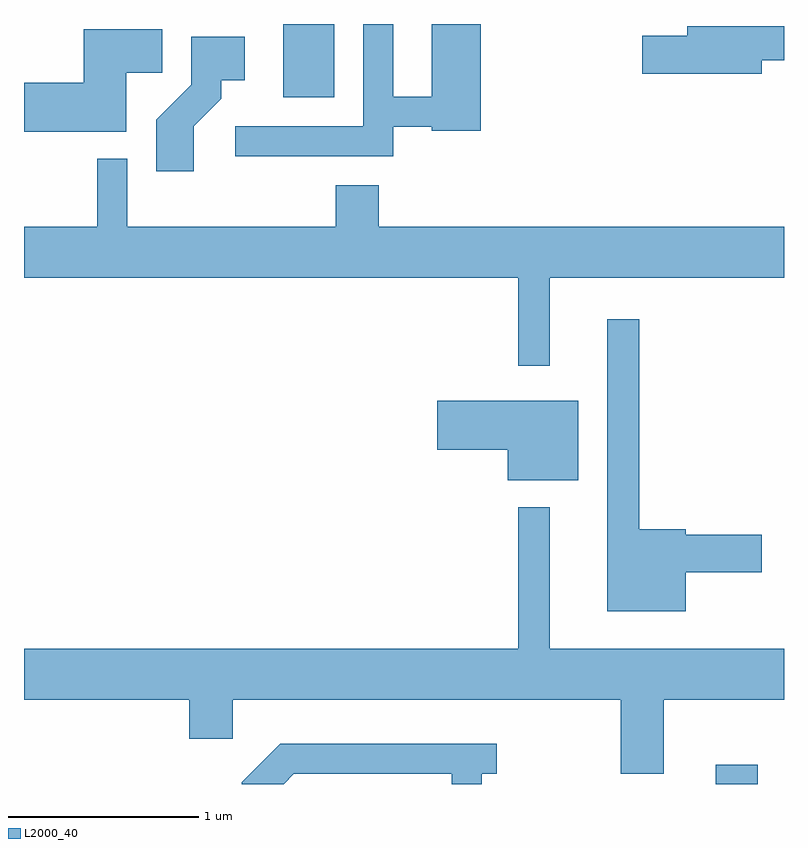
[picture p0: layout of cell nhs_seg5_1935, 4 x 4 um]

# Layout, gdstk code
import gdstk
lib = gdstk.Library(unit=1e-6, precision=1e-09)
def R(c, l, rs):  # rectangles x0, y0, x1, y1
    for r in rs: c.add(gdstk.rectangle(r[:2], r[2:], *l))
def P(c, l, *ps):  # polygons
    for p in ps: c.add(gdstk.Polygon(p, *l))
L2000_40 = (2000, 40)

nhs_seg5_1935 = lib.new_cell('nhs_seg5_1935')
R(nhs_seg5_1935, L2000_40, [(245.251,1514.072,245.474,1514.174), (242.976,1517.686,243.244,1518.072)])
P(nhs_seg5_1935, L2000_40, [(243.554,1517.531),(243.756,1517.531),(243.756,1517.511),(244.014,1517.511),(244.014,1518.072),(243.756,1518.072),(243.756,1517.689),(243.554,1517.689),(243.554,1518.072),(243.396,1518.072),(243.396,1517.534),(242.723,1517.534),(242.723,1517.376),(243.554,1517.376)],
  [(245.494,1517.881),(245.611,1517.881),(245.611,1518.059),(245.101,1518.059),(245.101,1518.009),(244.866,1518.009),(244.866,1517.811),(245.494,1517.811)],
  [(242.149,1517.816),(242.339,1517.816),(242.339,1518.044),(241.926,1518.044),(241.926,1517.764),(241.611,1517.764),(241.611,1517.506),(242.149,1517.506)],
  [(242.504,1517.534),(242.649,1517.679),(242.649,1517.776),(242.774,1517.776),(242.774,1518.004),(242.491,1518.004),(242.491,1517.752),(242.306,1517.567),(242.306,1517.296),(242.504,1517.296)],
  [(244.379,1516.736),(245.611,1516.736),(245.611,1517.004),(243.479,1517.004),(243.479,1517.224),(243.251,1517.224),(243.251,1517.004),(242.154,1517.004),(242.154,1517.363),(241.996,1517.363),(241.996,1517.004),(241.611,1517.004),(241.611,1516.736),(244.211,1516.736),(244.211,1516.273),(244.379,1516.273)],
  [(245.094,1515.186),(245.494,1515.186),(245.494,1515.384),(245.094,1515.384),(245.094,1515.414),(244.849,1515.414),(244.849,1516.518),(244.681,1516.518),(244.681,1514.981),(245.094,1514.981)],
  [(244.529,1516.089),(243.786,1516.089),(243.786,1515.831),(244.156,1515.831),(244.156,1515.671),(244.529,1515.671)],
  [(244.979,1514.516),(245.611,1514.516),(245.611,1514.784),(244.379,1514.784),(244.379,1515.528),(244.211,1515.528),(244.211,1514.784),(241.611,1514.784),(241.611,1514.516),(242.481,1514.516),(242.481,1514.311),(242.709,1514.311),(242.709,1514.516),(244.751,1514.516),(244.751,1514.126),(244.979,1514.126)],
  [(243.032,1514.126),(243.861,1514.126),(243.861,1514.072),(244.019,1514.072),(244.019,1514.126),(244.098,1514.126),(244.098,1514.284),(242.959,1514.284),(242.756,1514.082),(242.756,1514.072),(242.978,1514.072)])

lib.write_gds('nhs_seg5_1935.gds')
